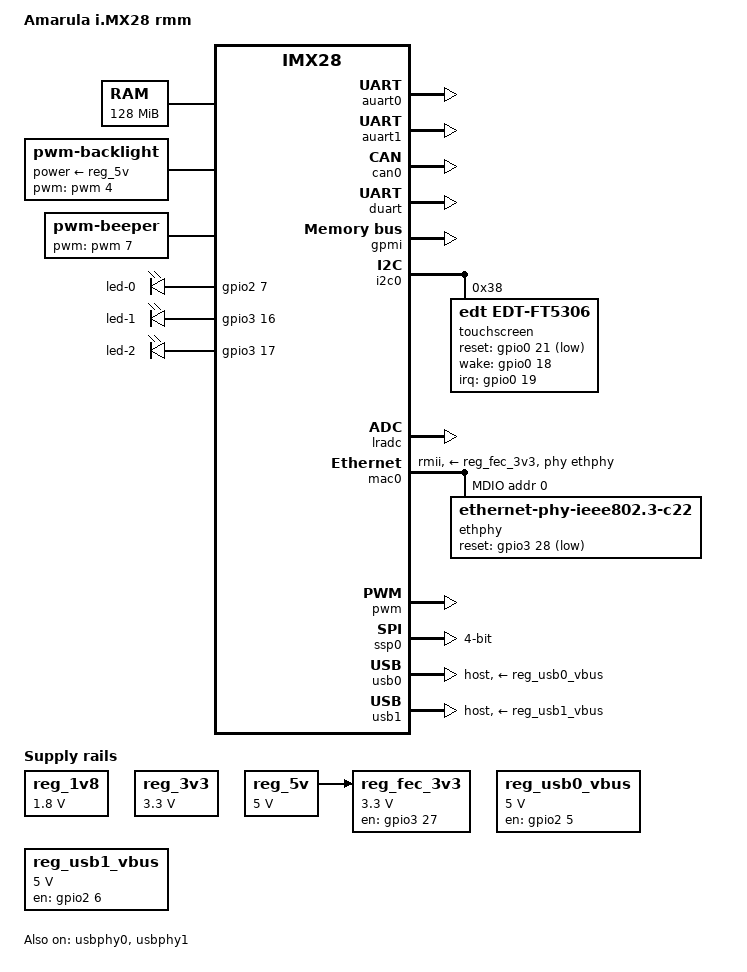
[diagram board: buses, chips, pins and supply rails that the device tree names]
// SPDX-License-Identifier: GPL-2.0
/*
 * Copyright (C) 2025 Amarula Solutions, Dario Binacchi <dario.binacchi@amarulasolutions.com>
 */

/dts-v1/;

#include "imx28.dtsi"
#include <dt-bindings/gpio/gpio.h>
#include <dt-bindings/interrupt-controller/irq.h>

/ {
	compatible = "amarula,imx28-rmm", "fsl,imx28";
	model = "Amarula i.MX28 rmm";

	memory@40000000 {
		reg = <0x40000000 0x08000000>;
		device_type = "memory";
	};

	backlight {
		compatible = "pwm-backlight";
		pwms = <&pwm 4 5000000 0>;
		brightness-levels = <0 255>;
		num-interpolated-steps = <255>;
		default-brightness-level = <255>;
		power-supply = <&reg_5v>;
	};

	beeper {
		compatible = "pwm-beeper";
		pwms = <&pwm 7 100000 0>;
	};

	leds {
		compatible = "gpio-leds";
		pinctrl-names = "default";
		pinctrl-0 = <&leds_pins>;

		led-0 {
			gpios = <&gpio2 7 GPIO_ACTIVE_HIGH>;
			default-state = "off";
		};

		led-1 {
			gpios = <&gpio3 16 GPIO_ACTIVE_HIGH>;
			default-state = "off";
		};

		led-2 {
			gpios = <&gpio3 17 GPIO_ACTIVE_HIGH>;
			default-state = "off";
		};
	};

	reg_1v8: regulator-1v8 {
		compatible = "regulator-fixed";
		regulator-name = "1v8";
		regulator-min-microvolt = <1800000>;
		regulator-max-microvolt = <1800000>;
	};

	reg_3v3: regulator-3v3 {
		compatible = "regulator-fixed";
		regulator-name = "3v3";
		regulator-min-microvolt = <3300000>;
		regulator-max-microvolt = <3300000>;
		regulator-always-on;
	};

	reg_5v: regulator-5v {
		compatible = "regulator-fixed";
		regulator-name = "5v";
		regulator-min-microvolt = <5000000>;
		regulator-max-microvolt = <5000000>;
		regulator-always-on;
	};

	reg_fec_3v3: regulator-fec-3v3 {
		compatible = "regulator-fixed";
		pinctrl-names = "default";
		pinctrl-0 = <&fec_3v3_enable_pin>;
		regulator-name = "fec-3v3";
		regulator-min-microvolt = <3300000>;
		regulator-max-microvolt = <3300000>;
		gpios = <&gpio3 27 GPIO_ACTIVE_HIGH>;
		enable-active-high;
		startup-delay-us = <300000>;
		vin-supply = <&reg_5v>;
	};

	reg_usb0_vbus: regulator-usb0-vbus {
		compatible = "regulator-fixed";
		pinctrl-names = "default";
		pinctrl-0 = <&usb0_vbus_enable_pin>;
		regulator-name = "usb0_vbus";
		regulator-min-microvolt = <5000000>;
		regulator-max-microvolt = <5000000>;
		gpio = <&gpio2 5 GPIO_ACTIVE_HIGH>;
		enable-active-high;
		regulator-always-on;
	};

	reg_usb1_vbus: regulator-usb1-vbus {
		compatible = "regulator-fixed";
		pinctrl-names = "default";
		pinctrl-0 = <&usb1_vbus_enable_pin>;
		regulator-name = "usb1_vbus";
		regulator-min-microvolt = <5000000>;
		regulator-max-microvolt = <5000000>;
		gpio = <&gpio2 6 GPIO_ACTIVE_HIGH>;
		enable-active-high;
		regulator-always-on;
	};
};

&auart0 {
	pinctrl-names = "default";
	pinctrl-0 = <&auart0_2pins_a>;
	status = "okay";
};

&auart1 {
	pinctrl-names = "default";
	pinctrl-0 = <&auart1_pins_a>;
	status = "okay";
};

&can0 {
	pinctrl-names = "default";
	pinctrl-0 = <&can0_pins_a>;
	status = "okay";
};

&duart {
	pinctrl-names = "default";
	pinctrl-0 = <&duart_pins_b>;
	status = "okay";
};

&duart_pins_b {
	fsl,voltage = <MXS_VOLTAGE_LOW>;
};

&gpmi {
	#size-cells = <0>;
	pinctrl-names = "default";
	pinctrl-0 = <&gpmi_pins_a &gpmi_status_cfg>;
	status = "okay";
};

&i2c0 {
	pinctrl-names = "default";
	pinctrl-0 = <&i2c0_pins_a>;
	status = "okay";

	touchscreen: touchscreen@38 {
		compatible = "edt,edt-ft5306";
		reg = <0x38>;
		pinctrl-names = "default";
		pinctrl-0 = <&edt_ft5x06_pins &edt_ft5x06_wake_pin>;
		interrupt-parent = <&gpio0>;
		interrupts = <19 IRQ_TYPE_EDGE_RISING>;
		reset-gpios = <&gpio0 21 GPIO_ACTIVE_LOW>;
		wake-gpios = <&gpio0 18 GPIO_ACTIVE_HIGH>;
	};
};

&lradc {
	status = "okay";
};

&mac0 {
	pinctrl-names = "default";
	pinctrl-0 = <&mac0_pins_a>;
	phy-mode = "rmii";
	phy-supply = <&reg_fec_3v3>;
	phy-handle = <&ethphy>;
	status = "okay";

	mdio {
		#address-cells = <1>;
		#size-cells = <0>;

		ethphy: ethernet-phy@0 {
			compatible = "ethernet-phy-ieee802.3-c22";
			reg = <0>;
			max-speed = <100>;
			reset-gpios = <&gpio3 28 GPIO_ACTIVE_LOW>;
			reset-assert-us = <4000>;
			reset-deassert-us = <4000>;
		};
	};
};

&pinctrl {
	pinctrl-names = "default";
	pinctrl-0 = <&hog_pins_a>;

	edt_ft5x06_pins: edt-ft5x06@0 {
		reg = <0>;
		fsl,pinmux-ids = <
			MX28_PAD_GPMI_RDY1__GPIO_0_21 /* Reset */
			MX28_PAD_GPMI_CE3N__GPIO_0_19 /* Interrupt */
		>;
		fsl,drive-strength = <MXS_DRIVE_4mA>;
		fsl,pull-up = <MXS_PULL_ENABLE>;
		fsl,voltage = <MXS_VOLTAGE_HIGH>;
	};

	edt_ft5x06_wake_pin: edt-ft5x06-wake@0 {
		reg = <0>;
		fsl,pinmux-ids = <MX28_PAD_GPMI_CE2N__GPIO_0_18>;
		fsl,drive-strength = <MXS_DRIVE_16mA>;
		fsl,pull-up = <MXS_PULL_DISABLE>;
		fsl,voltage = <MXS_VOLTAGE_HIGH>;
	};

	fec_3v3_enable_pin: fec-3v3-enable@0 {
		reg = <0>;
		fsl,pinmux-ids = <MX28_PAD_SPDIF__GPIO_3_27>;
		fsl,drive-strength = <MXS_DRIVE_4mA>;
		fsl,pull-up = <MXS_PULL_DISABLE>;
		fsl,voltage = <MXS_VOLTAGE_HIGH>;
	};

	hog_pins_a: hog@0 {
		reg = <0>;
		fsl,pinmux-ids = <
			MX28_PAD_SSP2_SS1__GPIO_2_20  /* External power */
		>;
		fsl,drive-strength = <MXS_DRIVE_4mA>;
		fsl,pull-up = <MXS_PULL_DISABLE>;
		fsl,voltage = <MXS_VOLTAGE_HIGH>;
	};

	leds_pins: leds@0 {
		reg = <0>;
		fsl,pinmux-ids = <
			MX28_PAD_SSP0_DATA7__GPIO_2_7
			MX28_PAD_PWM0__GPIO_3_16
			MX28_PAD_PWM1__GPIO_3_17
		>;
		fsl,drive-strength = <MXS_DRIVE_4mA>;
		fsl,pull-up = <MXS_PULL_DISABLE>;
		fsl,voltage = <MXS_VOLTAGE_HIGH>;
	};

	usb0_vbus_enable_pin: usb0-vbus-enable@0 {
		reg = <0>;
		fsl,pinmux-ids = <MX28_PAD_SSP0_DATA5__GPIO_2_5>;
		fsl,drive-strength = <MXS_DRIVE_4mA>;
		fsl,pull-up = <MXS_PULL_DISABLE>;
		fsl,voltage = <MXS_VOLTAGE_HIGH>;
	};

	usb1_vbus_enable_pin: usb1-vbus-enable@0 {
		reg = <0>;
		fsl,pinmux-ids = <MX28_PAD_SSP0_DATA6__GPIO_2_6>;
		fsl,drive-strength = <MXS_DRIVE_4mA>;
		fsl,pull-up = <MXS_PULL_DISABLE>;
		fsl,voltage = <MXS_VOLTAGE_HIGH>;
	};
};

&pwm {
	pinctrl-names = "default";
	pinctrl-0 = <&pwm4_pins_a &pwm7_pins_a>;
	status = "okay";
};

/* microSD */
&ssp0 {
	compatible = "fsl,imx28-mmc";
	pinctrl-names = "default";
	pinctrl-0 = <&mmc0_4bit_pins_a &mmc0_sck_cfg>;
	broken-cd;
	bus-width = <4>;
	status = "okay";
};

&usb0 {
	dr_mode = "host";
	vbus-supply = <&reg_usb0_vbus>;
	status = "okay";
};

&usb1 {
	dr_mode = "host";
	vbus-supply = <&reg_usb1_vbus>;
	status = "okay";
};

&usbphy0 {
	status = "okay";
};

&usbphy1 {
	status = "okay";
};
